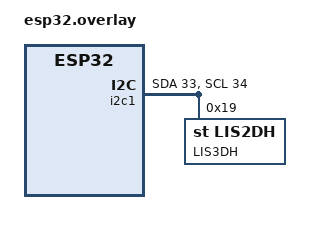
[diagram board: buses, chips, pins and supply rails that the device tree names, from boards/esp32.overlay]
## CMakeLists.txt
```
# SPDX-License-Identifier: Apache-2.0

cmake_minimum_required(VERSION 3.20.0)

find_package(Zephyr REQUIRED HINTS $ENV{ZEPHYR_BASE})
project(lis3dh)

target_sources(app PRIVATE src/main.c)
```

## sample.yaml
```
sample:
  description: Send LIS3DH sensor data to Golioth Light DB stream
  name: lightdb stream
common:
  harness: net
  platform_allow: >
    esp32
    esp32c3_devkitm
  tags: golioth net socket
```

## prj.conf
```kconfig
# Generic networking options
CONFIG_NETWORKING=y
CONFIG_NET_IPV4=y
CONFIG_NET_IPV6=n

# Logging
CONFIG_NET_LOG=y

# Network Shell
CONFIG_NET_SHELL=y

# TLS configuration
CONFIG_MBEDTLS_ENABLE_HEAP=y
CONFIG_MBEDTLS_HEAP_SIZE=10240
CONFIG_MBEDTLS_SSL_MAX_CONTENT_LEN=2048

# Application
CONFIG_MAIN_STACK_SIZE=4096
CONFIG_EVENTFD=y

CONFIG_GOLIOTH=y
CONFIG_GOLIOTH_SYSTEM_CLIENT=y

CONFIG_MINIMAL_LIBC_MALLOC_ARENA_SIZE=1024

# CONFIG_GOLIOTH_SAMPLE_WIFI=y
CONFIG_GOLIOTH_SYSTEM_CLIENT_PSK_ID=""
CONFIG_GOLIOTH_SYSTEM_CLIENT_PSK=""

CONFIG_ESP32_WIFI_SSID=""
CONFIG_ESP32_WIFI_PASSWORD=""

CONFIG_I2C=y
CONFIG_SENSOR=y
CONFIG_LIS2DH=y
```

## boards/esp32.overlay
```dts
&i2c1 {
	sda-pin = <33>;
	scl-pin = <34>;
	status = "okay";

	lis3dh@19 {
			compatible = "st,lis2dh";
			reg = <0x19>;
			label = "LIS3DH";
	};
};
```

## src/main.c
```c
/*
 * Copyright (c) 2021 Golioth, Inc.
 *
 * SPDX-License-Identifier: Apache-2.0
 */

#include <logging/log.h>
LOG_MODULE_REGISTER(golioth_lightdb_stream, LOG_LEVEL_DBG);

#include <net/coap.h>
#include <net/golioth/system_client.h>
#include <net/golioth/wifi.h>

#include <drivers/sensor.h>
#include <stdlib.h>

static struct golioth_client *client = GOLIOTH_SYSTEM_CLIENT_GET();


static void fetch_and_display(const struct device *sensor, struct sensor_value *accel)
{
	static unsigned int count;
	const char *overrun = "";
	int rc = sensor_sample_fetch(sensor);

	++count;
	if (rc == 0) {
		rc = sensor_channel_get(sensor,
					SENSOR_CHAN_ACCEL_XYZ,
					accel);
	}
	if (rc < 0) {
		printk("ERROR: Update failed: %d\n", rc);
	} else {
		printk("#%u @ %u ms: %sx %f , y %f , z %f",
		       count, k_uptime_get_32(), overrun,
		       sensor_value_to_double(&accel[0]),
		       sensor_value_to_double(&accel[1]),
		       sensor_value_to_double(&accel[2]));
	}
	printk("\n");
	
}

void main(void)
{

	struct sensor_value accel[3];
	const struct device *sensor = DEVICE_DT_GET_ANY(st_lis3dh);

	char str_accel[64];
	// struct sensor_value temp;
	int err;

	LOG_DBG("Start Light DB LIS3DH accelerometer stream sample");

	if (IS_ENABLED(CONFIG_GOLIOTH_SAMPLE_WIFI)) {
		LOG_INF("Connecting to WiFi");
		wifi_connect();
	}

	golioth_system_client_start();

	while (true) {
		fetch_and_display(sensor,accel);
		//err = get_temperature(&temp);
		if (err) {
			k_sleep(K_SECONDS(1));
			continue;
		}

		snprintk(str_accel, sizeof(str_accel),
			 "%f", sensor_value_to_double(&accel[0]));
		str_accel[sizeof(str_accel) - 1] = '\0';

		LOG_DBG("Sending acceleration value x%s", log_strdup(str_accel));

		err = golioth_lightdb_set(client,
					  GOLIOTH_LIGHTDB_STREAM_PATH("accel_x"),
					  COAP_CONTENT_FORMAT_TEXT_PLAIN,
					  str_accel,
					  strlen(str_accel));
		if (err) {
			LOG_WRN("Failed to send acceleration value: %d", err);
		}

				snprintk(str_accel, sizeof(str_accel),
			 "%f", sensor_value_to_double(&accel[1]));
		str_accel[sizeof(str_accel) - 1] = '\0';

		LOG_DBG("Sending acceleration value y%s", log_strdup(str_accel));

		err = golioth_lightdb_set(client,
					  GOLIOTH_LIGHTDB_STREAM_PATH("accel_y"),
					  COAP_CONTENT_FORMAT_TEXT_PLAIN,
					  str_accel,
					  strlen(str_accel));
		if (err) {
			LOG_WRN("Failed to send acceleration value: %d", err);
		}

				snprintk(str_accel, sizeof(str_accel),
			 "%f", sensor_value_to_double(&accel[2]));
		str_accel[sizeof(str_accel) - 1] = '\0';

		LOG_DBG("Sending acceleration value z%s", log_strdup(str_accel));

		err = golioth_lightdb_set(client,
					  GOLIOTH_LIGHTDB_STREAM_PATH("accel_z"),
					  COAP_CONTENT_FORMAT_TEXT_PLAIN,
					  str_accel,
					  strlen(str_accel));
		if (err) {
			LOG_WRN("Failed to send acceleration value: %d", err);
		}

		k_sleep(K_SECONDS(5));
	}
}
```
